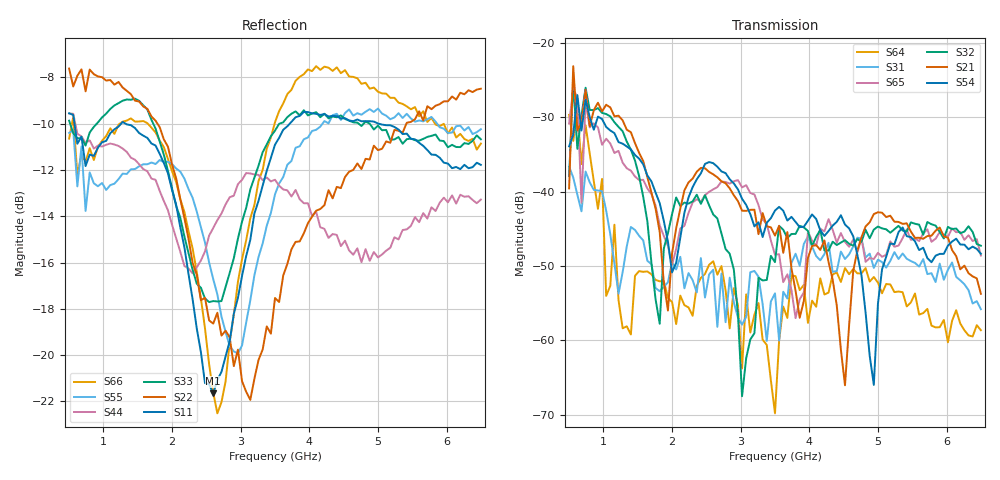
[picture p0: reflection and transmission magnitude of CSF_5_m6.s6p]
!Keysight Technologies,M9804A,MY58100912,A.14.10.03
!Date: Thursday, April 27, 2023 10:28:33
!Correction: S11(C  6-Port  )
!S12(C  6-Port  )
!S13(C  6-Port  )
!S14(C  6-Port  )
!S15(C  6-Port  )
!S16(C  6-Port  )
!S21(C  6-Port  )
!S22(C  6-Port  )
!S23(C  6-Port  )
!S24(C  6-Port  )
!S25(C  6-Port  )
!S26(C  6-Port  )
!S31(C  6-Port  )
!S32(C  6-Port  )
!S33(C  6-Port  )
!S34(C  6-Port  )
!S35(C  6-Port  )
!S36(C  6-Port  )
!S41(C  6-Port  )
!S42(C  6-Port  )
!S43(C  6-Port  )
!S44(C  6-Port  )
!S45(C  6-Port  )
!S46(C  6-Port  )
!S51(C  6-Port  )
!S52(C  6-Port  )
!S53(C  6-Port  )
!S54(C  6-Port  )
!S55(C  6-Port  )
!S56(C  6-Port  )
!S61(C  6-Port  )
!S62(C  6-Port  )
!S63(C  6-Port  )
!S64(C  6-Port  )
!S65(C  6-Port  )
!S66(C  6-Port  )
!S6P File: Measurement: :
# Hz S  RI  R 50
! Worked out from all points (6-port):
!   101 points, 500 MHz to 6.5 GHz, reference 50 ohm
!   strongest paths, dB at 500 MHz, 2 GHz, 3.5 GHz, 5 GHz, 6.5 GHz:
!     S54: -33.9, -50.9, -42.5, -55.1, -48.4
!     S21: -39.6, -48.3, -45.9, -42.8, -53.7
!     S32: -37.9, -43.0, -49.5, -44.7, -47.3
!     S65: -30.9, -49.8, -48.5, -48.2, -48.6
!     S31: -36.6, -49.5, -53.7, -49.2, -55.8
!     S64: -29.7, -54.8, -69.8, -52.2, -58.6
!   lowest |S11| = -21.7 dB at 2.6 GHz (marker M1), VSWR 1.18, Z = 42.6 + j2.06 ohm
!   |S11| at or under -10 dB: 578.2 MHz to 1.257 GHz (678.8 MHz wide, 74 % of centre); 1.324 GHz to 3.714 GHz (2.391 GHz wide, 94.9 % of centre); 5.012 GHz to end of sweep
